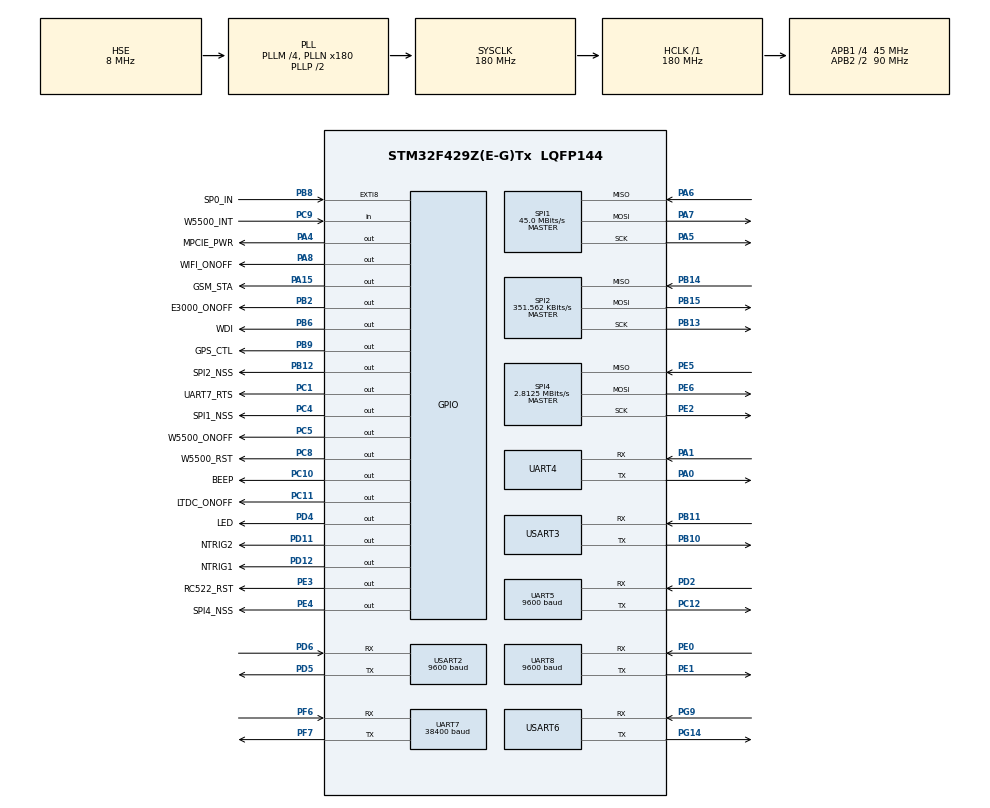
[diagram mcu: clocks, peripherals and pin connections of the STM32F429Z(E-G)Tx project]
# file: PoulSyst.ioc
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Dma.Request0=UART4_RX
Dma.Request1=USART2_RX
Dma.Request2=UART7_RX
Dma.Request3=UART7_TX
Dma.Request4=UART8_RX
Dma.Request5=UART5_RX
Dma.UART4_RX.0.Direction=DMA_PERIPH_TO_MEMORY
Dma.UART4_RX.0.FIFOMode=DMA_FIFOMODE_DISABLE
Dma.UART4_RX.0.Instance=DMA1_Stream2
Dma.UART4_RX.0.MemDataAlignment=DMA_MDATAALIGN_BYTE
Dma.UART4_RX.0.MemInc=DMA_MINC_ENABLE
Dma.UART4_RX.0.Mode=DMA_NORMAL
Dma.UART4_RX.0.PeriphDataAlignment=DMA_PDATAALIGN_BYTE
Dma.UART4_RX.0.PeriphInc=DMA_PINC_DISABLE
Dma.UART4_RX.0.Priority=DMA_PRIORITY_LOW
Dma.UART5_RX.5.Direction=DMA_PERIPH_TO_MEMORY
Dma.UART5_RX.5.FIFOMode=DMA_FIFOMODE_DISABLE
Dma.UART5_RX.5.Instance=DMA1_Stream0
Dma.UART5_RX.5.MemDataAlignment=DMA_MDATAALIGN_BYTE
Dma.UART5_RX.5.MemInc=DMA_MINC_ENABLE
Dma.UART5_RX.5.Mode=DMA_NORMAL
Dma.UART5_RX.5.PeriphDataAlignment=DMA_PDATAALIGN_BYTE
Dma.UART5_RX.5.PeriphInc=DMA_PINC_DISABLE
Dma.UART5_RX.5.Priority=DMA_PRIORITY_LOW
Dma.UART7_RX.2.Direction=DMA_PERIPH_TO_MEMORY
Dma.UART7_RX.2.FIFOMode=DMA_FIFOMODE_DISABLE
Dma.UART7_RX.2.Instance=DMA1_Stream3
Dma.UART7_RX.2.MemDataAlignment=DMA_MDATAALIGN_BYTE
Dma.UART7_RX.2.MemInc=DMA_MINC_ENABLE
Dma.UART7_RX.2.Mode=DMA_NORMAL
Dma.UART7_RX.2.PeriphDataAlignment=DMA_PDATAALIGN_BYTE
Dma.UART7_RX.2.PeriphInc=DMA_PINC_DISABLE
Dma.UART7_RX.2.Priority=DMA_PRIORITY_LOW
Dma.UART7_TX.3.Direction=DMA_MEMORY_TO_PERIPH
Dma.UART7_TX.3.FIFOMode=DMA_FIFOMODE_DISABLE
Dma.UART7_TX.3.Instance=DMA1_Stream1
Dma.UART7_TX.3.MemDataAlignment=DMA_MDATAALIGN_BYTE
Dma.UART7_TX.3.MemInc=DMA_MINC_ENABLE
Dma.UART7_TX.3.Mode=DMA_NORMAL
Dma.UART7_TX.3.PeriphDataAlignment=DMA_PDATAALIGN_BYTE
Dma.UART7_TX.3.PeriphInc=DMA_PINC_DISABLE
Dma.UART7_TX.3.Priority=DMA_PRIORITY_LOW
Dma.UART8_RX.4.Direction=DMA_PERIPH_TO_MEMORY
Dma.UART8_RX.4.FIFOMode=DMA_FIFOMODE_DISABLE
Dma.UART8_RX.4.Instance=DMA1_Stream6
Dma.UART8_RX.4.MemDataAlignment=DMA_MDATAALIGN_BYTE
Dma.UART8_RX.4.MemInc=DMA_MINC_ENABLE
Dma.UART8_RX.4.Mode=DMA_NORMAL
Dma.UART8_RX.4.PeriphDataAlignment=DMA_PDATAALIGN_BYTE
Dma.UART8_RX.4.PeriphInc=DMA_PINC_DISABLE
Dma.UART8_RX.4.Priority=DMA_PRIORITY_LOW
Dma.USART2_RX.1.Direction=DMA_PERIPH_TO_MEMORY
Dma.USART2_RX.1.FIFOMode=DMA_FIFOMODE_DISABLE
Dma.USART2_RX.1.Instance=DMA1_Stream5
Dma.USART2_RX.1.MemDataAlignment=DMA_MDATAALIGN_BYTE
Dma.USART2_RX.1.MemInc=DMA_MINC_ENABLE
Dma.USART2_RX.1.Mode=DMA_NORMAL
Dma.USART2_RX.1.PeriphDataAlignment=DMA_PDATAALIGN_BYTE
Dma.USART2_RX.1.PeriphInc=DMA_PINC_DISABLE
Dma.USART2_RX.1.Priority=DMA_PRIORITY_LOW
FREERTOS.BinarySemaphores01=NetStatusBinarySem,Dynamic,NULL;SimStatusBinarySem,Dynamic,NULL
FREERTOS.Mutexes01=NetTxMutex,Dynamic,NULL;NetRxMutex,Dynamic,NULL;SimTxMutex,Dynamic,NULL;SimRxMutex,Dynamic,NULL;SimMutex,Dynamic,NULL;NetStatusMutex,Dynamic,NULL
FREERTOS.Tasks01=defaultTask,8,128,StartDefaultTask,Default,NULL,Dynamic,NULL,NULL;WireTask,8,128,StartTask02,Default,NULL,Dynamic,NULL,NULL;MobileTask,8,128,StartTask03,Default,NULL,Dynamic,NULL,NULL;RouteTask04,24,512,StartTask04,Default,NULL,Dynamic,NULL,NULL
Mcu.Family=STM32F4
Mcu.Name=STM32F429Z(E-G)Tx
Mcu.Package=LQFP144
NVIC.DMA1_Stream0_IRQn=true\:5\:0\:false\:false\:true\:true\:false\:true
NVIC.DMA1_Stream1_IRQn=true\:5\:0\:false\:false\:true\:true\:false\:true
NVIC.DMA1_Stream2_IRQn=true\:5\:0\:false\:false\:true\:true\:false\:true
NVIC.DMA1_Stream3_IRQn=true\:5\:0\:false\:false\:true\:true\:false\:true
NVIC.DMA1_Stream5_IRQn=true\:5\:0\:false\:false\:true\:true\:false\:true
NVIC.DMA1_Stream6_IRQn=true\:5\:0\:false\:false\:true\:true\:false\:true
NVIC.EXTI9_5_IRQn=true\:5\:0\:false\:false\:true\:true\:true\:true
NVIC.PriorityGroup=NVIC_PRIORITYGROUP_4
NVIC.TIM2_IRQn=true\:5\:0\:false\:false\:true\:true\:true\:true
NVIC.TIM3_IRQn=true\:5\:0\:false\:false\:true\:true\:true\:true
NVIC.TIM4_IRQn=true\:0\:0\:false\:false\:true\:false\:false\:true
NVIC.TimeBase=TIM4_IRQn
NVIC.TimeBaseIP=TIM4
NVIC.UART4_IRQn=true\:5\:0\:false\:false\:true\:true\:true\:true
NVIC.UART5_IRQn=true\:5\:0\:false\:false\:true\:true\:true\:true
NVIC.UART7_IRQn=true\:5\:0\:false\:false\:true\:true\:true\:true
NVIC.UART8_IRQn=true\:5\:0\:false\:false\:true\:true\:true\:true
NVIC.USART2_IRQn=true\:5\:0\:false\:false\:true\:true\:true\:true
NVIC.USART3_IRQn=true\:5\:0\:false\:false\:true\:true\:true\:true
NVIC.USART6_IRQn=true\:5\:0\:false\:false\:true\:true\:true\:true
PA0/WKUP.Mode=Asynchronous
PA0/WKUP.Signal=UART4_TX
PA1.Mode=Asynchronous
PA1.Signal=UART4_RX
PA13.Mode=Serial_Wire
PA13.Signal=SYS_JTMS-SWDIO
PA14.Mode=Serial_Wire
PA14.Signal=SYS_JTCK-SWCLK
PA15.GPIO_Label=GSM_STA
PA15.Signal=GPIO_Output
PA4.GPIO_Label=MPCIE_PWR
PA4.Signal=GPIO_Output
PA5.Mode=Full_Duplex_Master
PA5.Signal=SPI1_SCK
PA6.Mode=Full_Duplex_Master
PA6.Signal=SPI1_MISO
PA7.Mode=Full_Duplex_Master
PA7.Signal=SPI1_MOSI
PA8.GPIO_Label=WIFI_ONOFF
PA8.Signal=GPIO_Output
PB10.Mode=Asynchronous
PB10.Signal=USART3_TX
PB11.GPIO_PuPd=GPIO_PULLUP
PB11.Mode=Asynchronous
PB11.Signal=USART3_RX
PB12.GPIO_Label=SPI2_NSS
PB12.Signal=GPIO_Output
PB13.Mode=Full_Duplex_Master
PB13.Signal=SPI2_SCK
PB14.Mode=Full_Duplex_Master
PB14.Signal=SPI2_MISO
PB15.Mode=Full_Duplex_Master
PB15.Signal=SPI2_MOSI
PB2/BOOT1.GPIO_Label=E3000_ONOFF
PB2/BOOT1.Signal=GPIO_Output
PB6.GPIO_Label=WDI
PB6.Signal=GPIO_Output
PB8.GPIO_Label=SP0_IN
PB8.Signal=GPXTI8
PB9.GPIO_Label=GPS_CTL
PB9.Signal=GPIO_Output
PC1.GPIO_Label=UART7_RTS
PC1.Signal=GPIO_Output
PC10.GPIO_Label=BEEP
PC10.Signal=GPIO_Output
PC11.GPIO_Label=LTDC_ONOFF
PC11.Signal=GPIO_Output
PC12.Mode=Asynchronous
PC12.Signal=UART5_TX
PC14/OSC32_IN.Mode=LSE-External-Oscillator
PC14/OSC32_IN.Signal=RCC_OSC32_IN
PC15/OSC32_OUT.Mode=LSE-External-Oscillator
PC15/OSC32_OUT.Signal=RCC_OSC32_OUT
PC4.GPIO_Label=SPI1_NSS
PC4.Signal=GPIO_Output
PC5.GPIO_Label=W5500_ONOFF
PC5.Signal=GPIO_Output
PC8.GPIO_Label=W5500_RST
PC8.Signal=GPIO_Output
PC9.GPIO_Label=W5500_INT
PC9.Signal=GPIO_Input
PD11.GPIO_Label=NTRIG2
PD11.Signal=GPIO_Output
PD12.GPIO_Label=NTRIG1
PD12.Signal=GPIO_Output
PD2.Mode=Asynchronous
PD2.Signal=UART5_RX
PD4.GPIO_Label=LED
PD4.Signal=GPIO_Output
PD5.Mode=Asynchronous
PD5.Signal=USART2_TX
PD6.Mode=Asynchronous
PD6.Signal=USART2_RX
PE0.Mode=Asynchronous
PE0.Signal=UART8_RX
PE1.Mode=Asynchronous
PE1.Signal=UART8_TX
PE2.Mode=Full_Duplex_Master
PE2.Signal=SPI4_SCK
PE3.GPIO_Label=RC522_RST
PE3.PinState=GPIO_PIN_SET
PE3.Signal=GPIO_Output
PE4.GPIO_Label=SPI4_NSS
PE4.Signal=GPIO_Output
PE5.Mode=Full_Duplex_Master
PE5.Signal=SPI4_MISO
PE6.Mode=Full_Duplex_Master
PE6.Signal=SPI4_MOSI
PF6.Mode=Asynchronous
PF6.Signal=UART7_RX
PF7.Mode=Asynchronous
PF7.Signal=UART7_TX
PG14.Mode=Asynchronous
PG14.Signal=USART6_TX
PG9.Mode=Asynchronous
PG9.Signal=USART6_RX
PH0/OSC_IN.Mode=HSE-External-Oscillator
PH0/OSC_IN.Signal=RCC_OSC_IN
PH1/OSC_OUT.Mode=HSE-External-Oscillator
PH1/OSC_OUT.Signal=RCC_OSC_OUT
ProjectManager.HeapSize=0xA00
ProjectManager.StackSize=0x1400
ProjectManager.TargetToolchain=MDK-ARM V5
RCC.48MHZClocksFreq_Value=90000000
RCC.AHBFreq_Value=180000000
RCC.APB1CLKDivider=RCC_HCLK_DIV4
RCC.APB1Freq_Value=45000000
RCC.APB1TimFreq_Value=90000000
RCC.APB2CLKDivider=RCC_HCLK_DIV2
RCC.APB2Freq_Value=90000000
RCC.APB2TimFreq_Value=180000000
RCC.CortexFreq_Value=180000000
RCC.HCLKFreq_Value=180000000
RCC.HSE_VALUE=8000000
RCC.HSI_VALUE=16000000
RCC.PLLM=4
RCC.PLLN=180
RCC.PLLSourceVirtual=RCC_PLLSOURCE_HSE
RCC.RCC_RTC_Clock_Source=RCC_RTCCLKSOURCE_LSE
RCC.RCC_RTC_Clock_SourceVirtual=RCC_RTCCLKSOURCE_LSE
RCC.SYSCLKFreq_VALUE=180000000
RCC.SYSCLKSource=RCC_SYSCLKSOURCE_PLLCLK
RCC.VCOOutputFreq_Value=360000000
SPI1.CalculateBaudRate=45.0 MBits/s
SPI1.Direction=SPI_DIRECTION_2LINES
SPI1.Mode=SPI_MODE_MASTER
SPI1.VirtualType=VM_MASTER
SPI2.BaudRatePrescaler=SPI_BAUDRATEPRESCALER_128
SPI2.CLKPhase=SPI_PHASE_2EDGE
SPI2.CLKPolarity=SPI_POLARITY_HIGH
SPI2.CalculateBaudRate=351.562 KBits/s
SPI2.Direction=SPI_DIRECTION_2LINES
SPI2.Mode=SPI_MODE_MASTER
SPI2.VirtualType=VM_MASTER
SPI4.BaudRatePrescaler=SPI_BAUDRATEPRESCALER_32
SPI4.CalculateBaudRate=2.8125 MBits/s
SPI4.Direction=SPI_DIRECTION_2LINES
SPI4.Mode=SPI_MODE_MASTER
SPI4.VirtualType=VM_MASTER
TIM2.Period=999
TIM2.Prescaler=89
TIM3.Period=999
TIM3.Prescaler=89
UART4.VirtualMode=Asynchronous
UART5.BaudRate=9600
UART5.VirtualMode=Asynchronous
UART7.BaudRate=38400
UART7.VirtualMode=Asynchronous
UART8.BaudRate=9600
UART8.VirtualMode=Asynchronous
USART2.BaudRate=9600
USART2.VirtualMode=VM_ASYNC
USART3.VirtualMode=VM_ASYNC
USART6.VirtualMode=VM_ASYNC
VP_FREERTOS_VS_CMSIS_V2.Mode=CMSIS_V2
VP_RTC_VS_RTC_Activate.Mode=RTC_Enabled
VP_RTC_VS_RTC_Calendar.Mode=RTC_Calendar
VP_SYS_VS_tim4.Mode=TIM4
VP_TIM2_VS_ClockSourceINT.Mode=Internal
VP_TIM3_VS_ClockSourceINT.Mode=Internal
board=custom

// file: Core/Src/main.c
/* USER CODE BEGIN Header */
/**
  ******************************************************************************
  * @file           : main.c
  * @brief          : Main program body
  ******************************************************************************
  * @attention
  *
  * <h2><center>&copy; Copyright (c) 2020 STMicroelectronics.
  * All rights reserved.</center></h2>
  *
  * This software component is licensed by ST under BSD 3-Clause license,
  * the "License"; You may not use this file except in compliance with the
  * License. You may obtain a copy of the License at:
  *                        opensource.org/licenses/BSD-3-Clause
  *
  ******************************************************************************
  */
/* USER CODE END Header */
#include "main.h"
#include "cmsis_os.h"
#include "dma.h"
#include "rtc.h"
#include "spi.h"
#include "tim.h"
#include "usart.h"
#include "gpio.h"

/* USER CODE BEGIN Includes */
#include "apps.h"
/* USER CODE END Includes */

void SystemClock_Config(void);
void MX_FREERTOS_Init(void);

int main(void)
{

  /* MCU Configuration--------------------------------------------------------*/

  /* Reset of all peripherals, Initializes the Flash interface and the Systick. */
  HAL_Init();

  /* Configure the system clock */
  SystemClock_Config();

  /* Initialize all configured peripherals */
  MX_GPIO_Init();
  MX_DMA_Init();
  MX_RTC_Init();
  MX_USART3_UART_Init();
  MX_TIM2_Init();
  MX_TIM3_Init();
  MX_SPI2_Init();
  MX_UART4_Init();
  MX_SPI4_Init();
  MX_USART6_UART_Init();
  MX_USART2_UART_Init();
  MX_UART5_Init();
  MX_UART7_Init();
  MX_UART8_Init();
  MX_SPI1_Init();

  /* Init scheduler */
  osKernelInitialize();  /* Call init function for freertos objects (in freertos.c) */
  MX_FREERTOS_Init();
  /* Start scheduler */
  osKernelStart();

  /* We should never get here as control is now taken by the scheduler */
  /* Infinite loop */
  while (1)
  {

  }
}

void SystemClock_Config(void)
{
  RCC_OscInitTypeDef RCC_OscInitStruct = {0};
  RCC_ClkInitTypeDef RCC_ClkInitStruct = {0};
  RCC_PeriphCLKInitTypeDef PeriphClkInitStruct = {0};

  /** Configure the main internal regulator output voltage
  */
  __HAL_RCC_PWR_CLK_ENABLE();
  __HAL_PWR_VOLTAGESCALING_CONFIG(PWR_REGULATOR_VOLTAGE_SCALE1);
  /** Initializes the RCC Oscillators according to the specified parameters
  * in the RCC_OscInitTypeDef structure.
  */
  RCC_OscInitStruct.OscillatorType = RCC_OSCILLATORTYPE_HSE|RCC_OSCILLATORTYPE_LSE;
  RCC_OscInitStruct.HSEState = RCC_HSE_ON;
  RCC_OscInitStruct.LSEState = RCC_LSE_ON;
  RCC_OscInitStruct.PLL.PLLState = RCC_PLL_ON;
  RCC_OscInitStruct.PLL.PLLSource = RCC_PLLSOURCE_HSE;
  RCC_OscInitStruct.PLL.PLLM = 4;
  RCC_OscInitStruct.PLL.PLLN = 180;
  RCC_OscInitStruct.PLL.PLLP = RCC_PLLP_DIV2;
  RCC_OscInitStruct.PLL.PLLQ = 4;
  if (HAL_RCC_OscConfig(&RCC_OscInitStruct) != HAL_OK)
  {
    Error_Handler();
  }
  /** Activate the Over-Drive mode
  */
  if (HAL_PWREx_EnableOverDrive() != HAL_OK)
  {
    Error_Handler();
  }
  /** Initializes the CPU, AHB and APB buses clocks
  */
  RCC_ClkInitStruct.ClockType = RCC_CLOCKTYPE_HCLK|RCC_CLOCKTYPE_SYSCLK
                              |RCC_CLOCKTYPE_PCLK1|RCC_CLOCKTYPE_PCLK2;
  RCC_ClkInitStruct.SYSCLKSource = RCC_SYSCLKSOURCE_PLLCLK;
  RCC_ClkInitStruct.AHBCLKDivider = RCC_SYSCLK_DIV1;
  RCC_ClkInitStruct.APB1CLKDivider = RCC_HCLK_DIV4;
  RCC_ClkInitStruct.APB2CLKDivider = RCC_HCLK_DIV2;

  if (HAL_RCC_ClockConfig(&RCC_ClkInitStruct, FLASH_LATENCY_5) != HAL_OK)
  {
    Error_Handler();
  }
  PeriphClkInitStruct.PeriphClockSelection = RCC_PERIPHCLK_RTC;
  PeriphClkInitStruct.RTCClockSelection = RCC_RTCCLKSOURCE_LSE;
  if (HAL_RCCEx_PeriphCLKConfig(&PeriphClkInitStruct) != HAL_OK)
  {
    Error_Handler();
  }
}

/* USER CODE BEGIN 4 */
#include "drivers.h"

#include "modbus.h"
#include "dhcp.h"
#include "communicate.h"
#include "route.h"
#include "usermsg.h"
#include "w5500_ex.h"
#include "sim7600.h"
/* USER CODE END 4 */

 /**
  * @brief  Period elapsed callback in non blocking mode
  * @note   This function is called  when TIM4 interrupt took place, inside
  * HAL_TIM_IRQHandler(). It makes a direct call to HAL_IncTick() to increment
  * a global variable "uwTick" used as application time base.
  * @param  htim : TIM handle
  * @retval None
  */
void HAL_TIM_PeriodElapsedCallback(TIM_HandleTypeDef *htim)
{
  if (htim->Instance == TIM4) {
    HAL_IncTick();
  }
  /* USER CODE BEGIN Callback 1 */
  else if (htim->Instance == TIM2) {
    /* 关闭中断 */
    DHCP_timer_handler();
    Ethernet_Timer_Handler();
    Uart_Timer_Handler();
    /* 打开中断 */
  }

  /* USER CODE END Callback 1 */
}

void Error_Handler(void)
{
}

/************************ (C) COPYRIGHT STMicroelectronics *****END OF FILE****/

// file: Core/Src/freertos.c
/* USER CODE BEGIN Header */
/**
  ******************************************************************************
  * File Name          : freertos.c
  * Description        : Code for freertos applications
  ******************************************************************************
  * @attention
  *
  * <h2><center>&copy; Copyright (c) 2021 STMicroelectronics.
  * All rights reserved.</center></h2>
  *
  * This software component is licensed by ST under Ultimate Liberty license
  * SLA0044, the "License"; You may not use this file except in compliance with
  * the License. You may obtain a copy of the License at:
  *                             www.st.com/SLA0044
  *
  ******************************************************************************
  */
/* USER CODE END Header */

#include "FreeRTOS.h"
#include "task.h"
#include "main.h"
#include "cmsis_os.h"

/* USER CODE BEGIN Includes */
#include "sim7600.h"
#include "apps.h"
#include "w5500_ex.h"
#include "drivers.h"
#include "route.h"
#include "debug.h"
/* USER CODE END Includes */

/* Definitions for defaultTask */
osThreadId_t defaultTaskHandle;
const osThreadAttr_t defaultTask_attributes = {
  .name = "defaultTask",
  .priority = (osPriority_t) osPriorityLow,
  .stack_size = 128 * 4
};
/* Definitions for WireTask */
osThreadId_t WireTaskHandle;
const osThreadAttr_t WireTask_attributes = {
  .name = "WireTask",
  .priority = (osPriority_t) osPriorityLow,
  .stack_size = 128 * 4
};
/* Definitions for MobileTask */
osThreadId_t MobileTaskHandle;
const osThreadAttr_t MobileTask_attributes = {
  .name = "MobileTask",
  .priority = (osPriority_t) osPriorityLow,
  .stack_size = 128 * 4
};
/* Definitions for RouteTask04 */
osThreadId_t RouteTask04Handle;
const osThreadAttr_t RouteTask04_attributes = {
  .name = "RouteTask04",
  .priority = (osPriority_t) osPriorityNormal,
  .stack_size = 512 * 4
};
/* Definitions for NetTxMutex */
osMutexId_t NetTxMutexHandle;
const osMutexAttr_t NetTxMutex_attributes = {
  .name = "NetTxMutex"
};
/* Definitions for NetRxMutex */
osMutexId_t NetRxMutexHandle;
const osMutexAttr_t NetRxMutex_attributes = {
  .name = "NetRxMutex"
};
/* Definitions for SimTxMutex */
osMutexId_t SimTxMutexHandle;
const osMutexAttr_t SimTxMutex_attributes = {
  .name = "SimTxMutex"
};
/* Definitions for SimRxMutex */
osMutexId_t SimRxMutexHandle;
const osMutexAttr_t SimRxMutex_attributes = {
  .name = "SimRxMutex"
};
/* Definitions for SimMutex */
osMutexId_t SimMutexHandle;
const osMutexAttr_t SimMutex_attributes = {
  .name = "SimMutex"
};
/* Definitions for NetStatusMutex */
osMutexId_t NetStatusMutexHandle;
const osMutexAttr_t NetStatusMutex_attributes = {
  .name = "NetStatusMutex"
};
/* Definitions for NetStatusBinarySem */
osSemaphoreId_t NetStatusBinarySemHandle;
const osSemaphoreAttr_t NetStatusBinarySem_attributes = {
  .name = "NetStatusBinarySem"
};
/* Definitions for SimStatusBinarySem */
osSemaphoreId_t SimStatusBinarySemHandle;
const osSemaphoreAttr_t SimStatusBinarySem_attributes = {
  .name = "SimStatusBinarySem"
};

void StartDefaultTask(void *argument);
void StartTask02(void *argument);
void StartTask03(void *argument);
void StartTask04(void *argument);

void MX_FREERTOS_Init(void); /* (MISRA C 2004 rule 8.1) */

void MX_FREERTOS_Init(void) {
  /* Create the mutex(es) */
  /* creation of NetTxMutex */
  NetTxMutexHandle = osMutexNew(&NetTxMutex_attributes);

  /* creation of NetRxMutex */
  NetRxMutexHandle = osMutexNew(&NetRxMutex_attributes);

  /* creation of SimTxMutex */
  SimTxMutexHandle = osMutexNew(&SimTxMutex_attributes);

  /* creation of SimRxMutex */
  SimRxMutexHandle = osMutexNew(&SimRxMutex_attributes);

  /* creation of SimMutex */
  SimMutexHandle = osMutexNew(&SimMutex_attributes);

  /* creation of NetStatusMutex */
  NetStatusMutexHandle = osMutexNew(&NetStatusMutex_attributes);

  /* Create the semaphores(s) */
  /* creation of NetStatusBinarySem */
  NetStatusBinarySemHandle = osSemaphoreNew(1, 1, &NetStatusBinarySem_attributes);

  /* creation of SimStatusBinarySem */
  SimStatusBinarySemHandle = osSemaphoreNew(1, 1, &SimStatusBinarySem_attributes);

  /* Create the thread(s) */
  /* creation of defaultTask */
  defaultTaskHandle = osThreadNew(StartDefaultTask, NULL, &defaultTask_attributes);

  /* creation of WireTask */
  WireTaskHandle = osThreadNew(StartTask02, NULL, &WireTask_attributes);

  /* creation of MobileTask */
  MobileTaskHandle = osThreadNew(StartTask03, NULL, &MobileTask_attributes);

  /* creation of RouteTask04 */
  RouteTask04Handle = osThreadNew(StartTask04, NULL, &RouteTask04_attributes);

}

void StartDefaultTask(void *argument)
{
  /* USER CODE BEGIN StartDefaultTask */
//  HAL_TIM_Base_Start_IT(&htim2);
//	Debug_Init();
  Main_Init();
  /* Infinite loop */
  for(;;)
  {
    Main_Process();
//	  Debug_Process();
//    Ex_WDI_Feed();
    osDelay(1);
  }
  /* USER CODE END StartDefaultTask */
}

void StartTask02(void *argument)
{
  /* USER CODE BEGIN StartTask02 */
  Ethernet_Init();
  /* Infinite loop */
  for(;;)
  {
    Ethernet_Process();
    osDelay(1);
  }
  /* USER CODE END StartTask02 */
}

void StartTask03(void *argument)
{
  /* USER CODE BEGIN StartTask03 */
  Sim_Init();
  /* Infinite loop */
  for(;;)
  {
    Sim_Process();
    osDelay(1);
  }
  /* USER CODE END StartTask03 */
}

void StartTask04(void *argument)
{
  /* USER CODE BEGIN StartTask04 */
  osDelay(1000);
  /* Infinite loop */
  for(;;)
  {
    // ��������: �豸��¼->�û���¼->�ͻ���¼->��Ʒ����
	Route_Process();
    osDelay(1);
  }
  /* USER CODE END StartTask04 */
}

/************************ (C) COPYRIGHT STMicroelectronics *****END OF FILE****/
